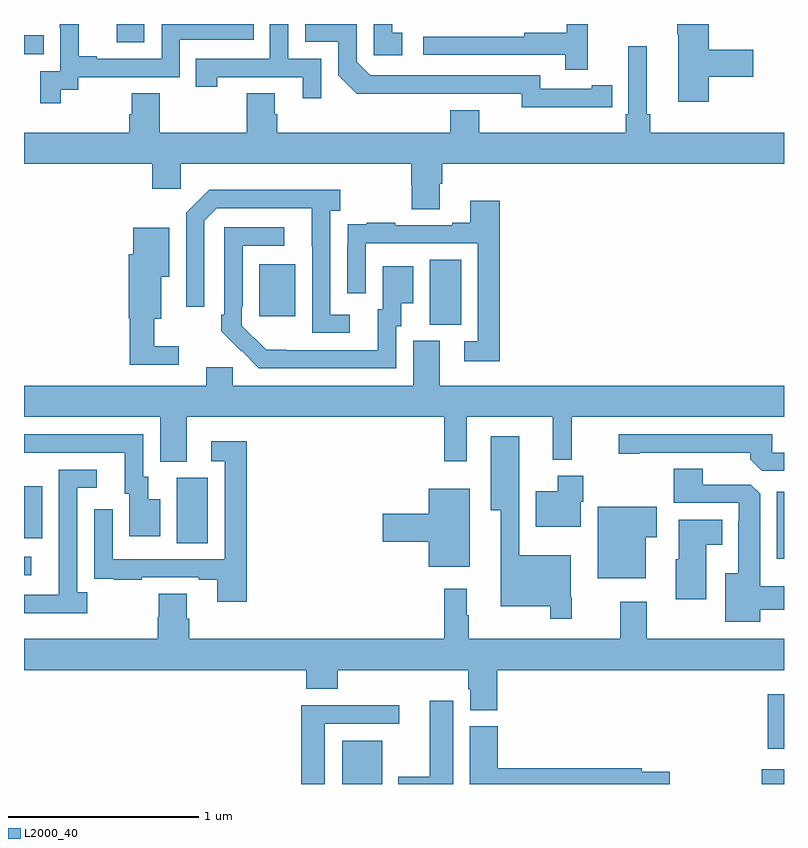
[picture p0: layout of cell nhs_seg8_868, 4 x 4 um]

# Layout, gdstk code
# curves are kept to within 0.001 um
import gdstk
lib = gdstk.Library(unit=1e-6, precision=1e-09)
def R(c, l, rs):  # rectangles x0, y0, x1, y1
    for r in rs: c.add(gdstk.rectangle(r[:2], r[2:], *l))
def P(c, l, *ps):  # polygons
    for p in ps: c.add(gdstk.Polygon(p, *l))
L2000_40 = (2000, 40)

nhs_seg8_868 = lib.new_cell('nhs_seg8_868')
R(nhs_seg8_868, L2000_40, [(168.674,1115.9,168.886,1116.127), (170.882,1115.9,171,1115.977), (170.915,1116.086,171,1116.373), (167,1116.999,167.038,1117.095), (170.963,1117.085,171,1117.438), (167.804,1117.168,167.968,1117.512), (167,1117.193,167.095,1117.468), (169.136,1118.317,169.3,1118.66), (168.239,1118.361,168.427,1118.635), (167,1119.741,167.105,1119.842), (167.487,1119.804,167.634,1119.9)])
P(nhs_seg8_868, L2000_40, [(168.564,1119.717),(168.39,1119.717),(168.39,1119.9),(168.294,1119.9),(168.294,1119.717),(167.905,1119.717),(167.905,1119.57),(168.016,1119.57),(168.016,1119.621),(168.467,1119.621),(168.467,1119.51),(168.564,1119.51)],
  [(167.194,1119.553),(167.286,1119.553),(167.286,1119.621),(167.82,1119.621),(167.82,1119.816),(168.209,1119.816),(168.209,1119.9),(167.724,1119.9),(167.724,1119.717),(167.383,1119.717),(167.383,1119.73),(167.288,1119.73),(167.288,1119.9),(167.189,1119.9),(167.189,1119.881),(167.19,1119.881),(167.19,1119.651),(167.085,1119.651),(167.085,1119.483),(167.194,1119.483)],
  [(169.988,1119.462),(170.096,1119.462),(170.096,1119.578),(169.988,1119.578),(169.988,1119.558),(169.716,1119.558),(169.716,1119.63),(168.822,1119.63),(168.75,1119.702),(168.75,1119.9),(168.48,1119.9),(168.48,1119.807),(168.654,1119.807),(168.654,1119.63),(168.752,1119.533),(169.62,1119.534),(169.62,1119.461)],
  [(168.991,1119.855),(168.938,1119.855),(168.938,1119.9),(168.84,1119.9),(168.84,1119.735),(168.991,1119.735)],
  [(169.967,1119.9),(169.857,1119.9),(169.857,1119.854),(169.633,1119.854),(169.633,1119.834),(169.101,1119.834),(169.101,1119.738),(169.849,1119.738),(169.849,1119.66),(169.967,1119.66)],
  [(170.603,1119.622),(170.839,1119.622),(170.839,1119.764),(170.603,1119.764),(170.603,1119.9),(170.437,1119.9),(170.437,1119.847),(170.444,1119.847),(170.444,1119.492),(170.603,1119.492)],
  [(169.189,1119.058),(169.202,1119.058),(169.202,1119.164),(171,1119.164),(171,1119.328),(170.297,1119.328),(170.297,1119.424),(170.278,1119.424),(170.278,1119.784),(170.181,1119.784),(170.181,1119.424),(170.168,1119.424),(170.168,1119.328),(169.396,1119.328),(169.396,1119.445),(169.244,1119.445),(169.244,1119.328),(168.332,1119.328),(168.332,1119.426),(168.319,1119.426),(168.319,1119.536),(168.172,1119.536),(168.172,1119.328),(167.715,1119.328),(167.715,1119.536),(167.567,1119.536),(167.567,1119.426),(167.555,1119.426),(167.555,1119.328),(167,1119.328),(167,1119.164),(167.675,1119.164),(167.675,1119.033),(167.826,1119.033),(167.826,1119.164),(169.037,1119.164),(169.037,1119.051),(169.042,1119.051),(169.042,1118.926),(169.189,1118.926)],
  [(168.715,1118.37),(168.612,1118.37),(168.612,1118.918),(168.664,1118.918),(168.664,1119.028),(167.974,1119.028),(167.853,1118.907),(167.853,1118.412),(167.949,1118.412),(167.949,1118.865),(168.015,1118.931),(168.515,1118.931),(168.516,1118.274),(168.715,1118.274)],
  [(169.505,1118.971),(169.349,1118.971),(169.349,1118.854),(169.253,1118.854),(169.253,1118.841),(168.953,1118.841),(168.953,1118.854),(168.805,1118.854),(168.805,1118.847),(168.703,1118.847),(168.703,1118.738),(168.702,1118.738),(168.702,1118.484),(168.798,1118.484),(168.798,1118.745),(169.389,1118.745),(169.389,1118.229),(169.317,1118.229),(169.317,1118.124),(169.505,1118.124)],
  [(168.96,1118.31),(168.985,1118.31),(168.985,1118.429),(169.048,1118.429),(169.048,1118.626),(168.887,1118.626),(168.887,1118.4),(168.863,1118.4),(168.863,1118.184),(168.276,1118.185),(168.147,1118.313),(168.147,1118.413),(168.15,1118.413),(168.15,1118.733),(168.37,1118.733),(168.37,1118.829),(168.054,1118.829),(168.054,1118.371),(168.039,1118.371),(168.039,1118.283),(168.236,1118.088),(168.96,1118.088)],
  [(167.815,1118.203),(167.686,1118.203),(167.686,1118.348),(167.722,1118.348),(167.722,1118.57),(167.764,1118.57),(167.764,1118.827),(167.576,1118.827),(167.576,1118.688),(167.552,1118.688),(167.552,1118.352),(167.557,1118.352),(167.557,1118.106),(167.815,1118.106)],
  [(167.857,1117.832),(169.213,1117.832),(169.213,1117.599),(169.329,1117.599),(169.329,1117.832),(169.784,1117.832),(169.784,1117.607),(169.884,1117.607),(169.884,1117.832),(171,1117.832),(171,1117.996),(169.189,1117.996),(169.189,1118.232),(169.049,1118.232),(169.049,1117.996),(168.099,1117.996),(168.099,1118.094),(167.96,1118.094),(167.96,1117.996),(167,1117.996),(167,1117.832),(167.717,1117.832),(167.717,1117.597),(167.857,1117.597)],
  [(171,1117.644),(170.937,1117.644),(170.937,1117.74),(170.13,1117.74),(170.13,1117.639),(170.242,1117.639),(170.242,1117.644),(170.822,1117.644),(170.822,1117.61),(170.883,1117.548),(171,1117.548)],
  [(167.716,1117.399),(167.653,1117.399),(167.653,1117.518),(167.628,1117.518),(167.628,1117.74),(167,1117.74),(167,1117.644),(167.531,1117.644),(167.531,1117.428),(167.555,1117.428),(167.555,1117.203),(167.716,1117.203)],
  [(169.883,1116.883),(169.878,1116.883),(169.878,1117.105),(169.606,1117.105),(169.606,1117.729),(169.457,1117.729),(169.457,1117.34),(169.508,1117.34),(169.508,1116.836),(169.77,1116.836),(169.77,1116.771),(169.883,1116.771)],
  [(168.173,1117.705),(167.985,1117.705),(167.985,1117.599),(168.057,1117.599),(168.057,1117.083),(167.466,1117.083),(167.466,1117.345),(167.37,1117.345),(167.37,1117.09),(167.371,1117.09),(167.371,1116.981),(167.473,1116.981),(167.473,1116.975),(167.621,1116.975),(167.621,1116.987),(167.921,1116.987),(167.921,1116.975),(168.017,1116.975),(168.017,1116.858),(168.173,1116.858)],
  [(170.875,1116.818),(171,1116.818),(171,1116.94),(170.875,1116.94),(170.875,1117.427),(170.826,1117.476),(170.572,1117.476),(170.572,1117.559),(170.42,1117.559),(170.42,1117.38),(170.763,1117.38),(170.763,1117.283),(170.759,1117.283),(170.759,1117.009),(170.69,1117.009),(170.69,1116.755),(170.875,1116.755)],
  [(167.332,1116.91),(167.28,1116.91),(167.28,1117.458),(167.383,1117.458),(167.383,1117.554),(167.184,1117.554),(167.184,1117.097),(167.183,1117.097),(167.183,1116.897),(167,1116.897),(167,1116.8),(167.332,1116.8)],
  [(169.93,1117.386),(169.943,1117.386),(169.943,1117.522),(169.808,1117.522),(169.808,1117.441),(169.694,1117.441),(169.694,1117.253),(169.93,1117.253)],
  [(169.345,1117.453),(169.13,1117.453),(169.13,1117.322),(168.888,1117.322),(168.888,1117.175),(169.13,1117.175),(169.13,1117.043),(169.345,1117.043)],
  [(170.272,1117.198),(170.329,1117.198),(170.329,1117.36),(170.021,1117.36),(170.021,1116.983),(170.272,1116.983)],
  [(170.59,1117.16),(170.674,1117.16),(170.674,1117.291),(170.447,1117.291),(170.447,1117.083),(170.429,1117.083),(170.429,1116.873),(170.59,1116.873)],
  [(169.49,1116.5),(171,1116.5),(171,1116.664),(170.278,1116.664),(170.278,1116.859),(170.138,1116.859),(170.138,1116.664),(169.342,1116.664),(169.342,1116.788),(169.33,1116.788),(169.33,1116.928),(169.213,1116.928),(169.213,1116.664),(167.87,1116.664),(167.87,1116.77),(167.857,1116.77),(167.857,1116.902),(167.71,1116.902),(167.71,1116.777),(167.705,1116.777),(167.705,1116.664),(167,1116.664),(167,1116.5),(168.485,1116.5),(168.485,1116.401),(168.65,1116.401),(168.65,1116.5),(169.337,1116.5),(169.337,1116.399),(169.349,1116.399),(169.349,1116.289),(169.49,1116.289)],
  [(169.258,1116.337),(169.136,1116.337),(169.136,1115.938),(168.971,1115.938),(168.971,1115.9),(169.258,1115.9)],
  [(168.583,1116.216),(168.976,1116.216),(168.976,1116.314),(168.458,1116.314),(168.458,1115.9),(168.583,1115.9)],
  [(170.399,1115.964),(170.252,1115.964),(170.252,1115.984),(169.493,1115.984),(169.493,1116.204),(169.346,1116.204),(169.346,1115.9),(170.399,1115.9)])

lib.write_gds('nhs_seg8_868.gds')
